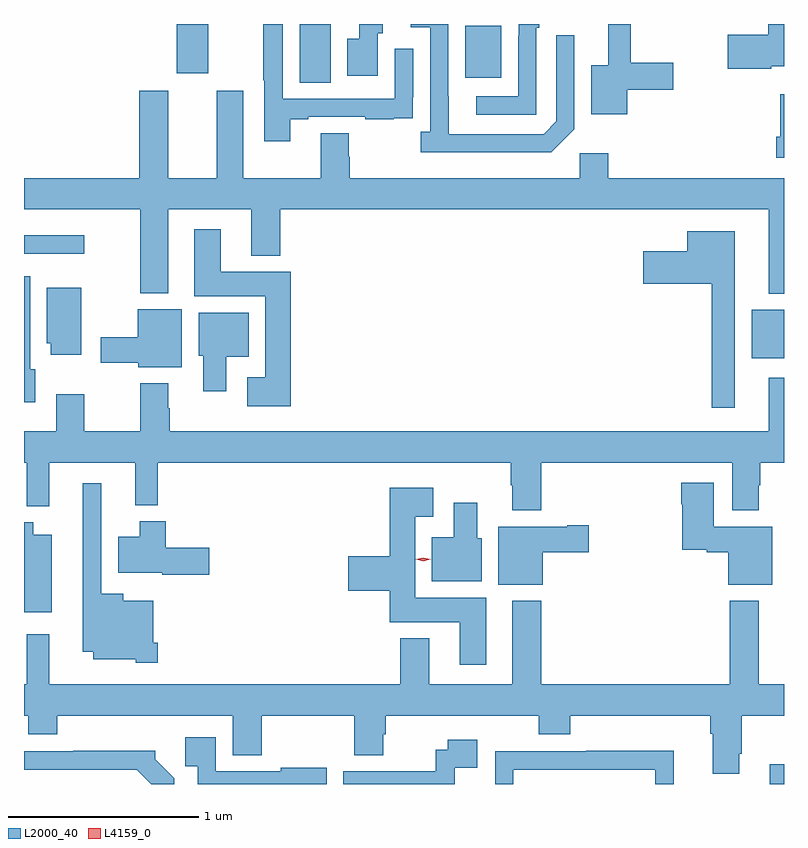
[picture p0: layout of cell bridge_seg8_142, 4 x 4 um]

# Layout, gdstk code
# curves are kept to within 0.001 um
import gdstk
lib = gdstk.Library(unit=1e-6, precision=1e-09)
def R(c, l, rs):  # rectangles x0, y0, x1, y1
    for r in rs: c.add(gdstk.rectangle(r[:2], r[2:], *l))
def P(c, l, *ps):  # polygons
    for p in ps: c.add(gdstk.Polygon(p, *l))
L2000_40 = (2000, 40)
L4159_0 = (4159, 0)

bridge_seg8_142 = lib.new_cell('bridge_seg8_142')
R(bridge_seg8_142, L2000_40, [(530.099,1142.78,530.174,1142.884), (530.003,1145.021,530.174,1145.275), (526.174,1145.571,526.492,1145.668), (527.624,1146.472,527.788,1146.78), (528.497,1146.497,528.685,1146.772), (526.979,1146.522,527.143,1146.78)])
P(bridge_seg8_142, L2000_40, [(527.575,1146.279),(527.671,1146.279),(527.671,1146.291),(527.971,1146.291),(527.971,1146.279),(528.119,1146.279),(528.119,1146.285),(528.221,1146.285),(528.221,1146.394),(528.222,1146.394),(528.222,1146.649),(528.126,1146.649),(528.126,1146.387),(527.535,1146.387),(527.535,1146.78),(527.434,1146.78),(527.434,1146.484),(527.439,1146.484),(527.439,1146.162),(527.575,1146.162)],
  [(528.037,1146.732),(528.061,1146.732),(528.061,1146.78),(527.939,1146.78),(527.939,1146.703),(527.876,1146.703),(527.876,1146.507),(528.037,1146.507)],
  [(528.87,1146.761),(528.885,1146.761),(528.885,1146.78),(528.777,1146.78),(528.777,1146.719),(528.774,1146.719),(528.774,1146.399),(528.555,1146.399),(528.555,1146.303),(528.87,1146.303)],
  [(529.071,1146.225),(529.071,1146.721),(528.975,1146.721),(528.975,1146.267),(528.909,1146.201),(528.409,1146.201),(528.408,1146.78),(528.21,1146.78),(528.21,1146.762),(528.312,1146.762),(528.312,1146.214),(528.261,1146.214),(528.261,1146.104),(528.95,1146.104)],
  [(529.348,1146.433),(529.591,1146.433),(529.591,1146.575),(529.367,1146.575),(529.367,1146.78),(529.25,1146.78),(529.25,1146.562),(529.16,1146.562),(529.16,1146.305),(529.348,1146.305)],
  [(530.106,1146.557),(530.174,1146.557),(530.174,1146.78),(530.09,1146.78),(530.09,1146.723),(529.878,1146.723),(529.878,1146.545),(530.106,1146.545)],
  [(530.174,1145.968),(529.25,1145.968),(529.25,1146.1),(529.098,1146.1),(529.098,1145.968),(527.888,1145.968),(527.888,1146.081),(527.883,1146.081),(527.883,1146.206),(527.735,1146.206),(527.735,1145.968),(527.329,1145.968),(527.329,1146.43),(527.189,1146.43),(527.189,1145.968),(526.933,1145.968),(526.933,1146.43),(526.781,1146.43),(526.781,1145.968),(526.174,1145.968),(526.174,1145.804),(526.786,1145.804),(526.786,1145.363),(526.933,1145.363),(526.933,1145.804),(527.369,1145.804),(527.369,1145.561),(527.522,1145.561),(527.522,1145.804),(530.093,1145.804),(530.093,1145.36),(530.174,1145.36)],
  [(530.174,1146.409),(530.154,1146.409),(530.154,1146.187),(530.134,1146.187),(530.134,1146.075),(530.174,1146.075)],
  [(527.579,1145.476),(527.209,1145.476),(527.209,1145.701),(527.069,1145.701),(527.069,1145.348),(527.444,1145.348),(527.444,1144.921),(527.349,1144.921),(527.349,1144.769),(527.579,1144.769)],
  [(529.915,1145.689),(529.664,1145.689),(529.664,1145.584),(529.434,1145.584),(529.434,1145.414),(529.794,1145.414),(529.794,1144.761),(529.915,1144.761)],
  [(526.234,1144.962),(526.207,1144.962),(526.207,1145.452),(526.174,1145.452),(526.174,1144.79),(526.234,1144.79)],
  [(526.474,1145.392),(526.295,1145.392),(526.295,1145.1),(526.316,1145.1),(526.316,1145.04),(526.474,1145.04)],
  [(527.005,1145.278),(526.772,1145.278),(526.772,1145.132),(526.578,1145.132),(526.578,1144.997),(526.776,1144.997),(526.776,1144.973),(527.005,1144.973)],
  [(527.239,1145.03),(527.356,1145.03),(527.356,1145.26),(527.093,1145.26),(527.093,1145.034),(527.117,1145.034),(527.117,1144.848),(527.239,1144.848)],
  [(528.896,1144.472),(529.901,1144.472),(529.901,1144.22),(530.041,1144.22),(530.041,1144.352),(530.049,1144.352),(530.049,1144.472),(530.174,1144.472),(530.174,1144.918),(530.093,1144.918),(530.093,1144.636),(526.941,1144.636),(526.941,1144.757),(526.933,1144.757),(526.933,1144.888),(526.786,1144.888),(526.786,1144.636),(526.491,1144.636),(526.491,1144.831),(526.343,1144.831),(526.343,1144.636),(526.174,1144.636),(526.174,1144.472),(526.189,1144.472),(526.189,1144.243),(526.307,1144.243),(526.307,1144.472),(526.76,1144.472),(526.76,1144.247),(526.877,1144.247),(526.877,1144.472),(528.736,1144.472),(528.736,1144.352),(528.743,1144.352),(528.743,1144.22),(528.896,1144.22)],
  [(530.113,1144.135),(529.804,1144.135),(529.804,1144.366),(529.634,1144.366),(529.634,1144.253),(529.639,1144.253),(529.639,1144.013),(529.767,1144.013),(529.767,1144.001),(529.88,1144.001),(529.88,1143.83),(530.113,1143.83)],
  [(526.877,1143.523),(526.855,1143.523),(526.855,1143.745),(526.696,1143.745),(526.696,1143.781),(526.581,1143.781),(526.581,1144.363),(526.484,1144.363),(526.484,1143.476),(526.538,1143.476),(526.538,1143.437),(526.761,1143.437),(526.761,1143.419),(526.877,1143.419)],
  [(528.607,1143.76),(528.232,1143.76),(528.232,1144.187),(528.328,1144.187),(528.328,1144.339),(528.098,1144.339),(528.098,1143.98),(527.88,1143.98),(527.88,1143.797),(528.098,1143.797),(528.098,1143.632),(528.467,1143.632),(528.467,1143.408),(528.607,1143.408)],
  [(528.583,1144.074),(528.559,1144.074),(528.559,1144.261),(528.437,1144.261),(528.437,1144.078),(528.32,1144.078),(528.32,1143.848),(528.583,1143.848)],
  [(527.149,1144.023),(526.919,1144.023),(526.919,1144.162),(526.784,1144.162),(526.784,1144.081),(526.67,1144.081),(526.67,1143.893),(526.902,1143.893),(526.902,1143.881),(527.149,1143.881)],
  [(526.321,1144.093),(526.222,1144.093),(526.222,1144.158),(526.174,1144.158),(526.174,1143.683),(526.321,1143.683)],
  [(528.904,1144.001),(529.147,1144.001),(529.147,1144.143),(529.034,1144.143),(529.034,1144.135),(528.671,1144.135),(528.671,1143.83),(528.904,1143.83)],
  [(529.939,1142.938),(529.952,1142.938),(529.952,1143.14),(530.174,1143.14),(530.174,1143.304),(530.041,1143.304),(530.041,1143.745),(529.889,1143.745),(529.889,1143.304),(528.896,1143.304),(528.896,1143.745),(528.743,1143.745),(528.743,1143.304),(528.307,1143.304),(528.307,1143.547),(528.155,1143.547),(528.155,1143.304),(526.308,1143.304),(526.308,1143.568),(526.189,1143.568),(526.189,1143.304),(526.174,1143.304),(526.174,1143.14),(526.196,1143.14),(526.196,1143.041),(526.349,1143.041),(526.349,1143.14),(527.273,1143.14),(527.273,1142.932),(527.426,1142.932),(527.426,1143.14),(527.912,1143.14),(527.912,1142.932),(528.064,1142.932),(528.064,1143.042),(528.077,1143.042),(528.077,1143.14),(528.884,1143.14),(528.884,1143.041),(529.049,1143.041),(529.049,1143.14),(529.787,1143.14),(529.787,1143.044),(529.799,1143.044),(529.799,1142.833),(529.939,1142.833)],
  [(527.768,1142.866),(527.525,1142.866),(527.525,1142.847),(527.184,1142.847),(527.184,1143.025),(527.023,1143.025),(527.023,1142.873),(527.088,1142.873),(527.088,1142.78),(527.768,1142.78)],
  [(528.441,1142.865),(528.559,1142.865),(528.559,1143.013),(528.403,1143.013),(528.403,1142.961),(528.34,1142.961),(528.34,1142.847),(527.853,1142.847),(527.853,1142.78),(528.441,1142.78)],
  [(526.965,1142.81),(526.866,1142.909),(526.866,1142.954),(526.432,1142.954),(526.432,1142.952),(526.174,1142.952),(526.174,1142.856),(526.767,1142.856),(526.843,1142.78),(526.965,1142.78)],
  [(528.75,1142.856),(529.497,1142.856),(529.497,1142.78),(529.595,1142.78),(529.595,1142.954),(529.132,1142.954),(529.132,1142.952),(528.654,1142.952),(528.654,1142.78),(528.75,1142.78)])
P(bridge_seg8_142, L4159_0, [(528.276,1143.952),(528.237,1143.962),(528.237,1143.962),(528.237,1143.962),(528.276,1143.972),(528.315,1143.963),(528.315,1143.963),(528.315,1143.962)])

lib.write_gds('bridge_seg8_142.gds')
